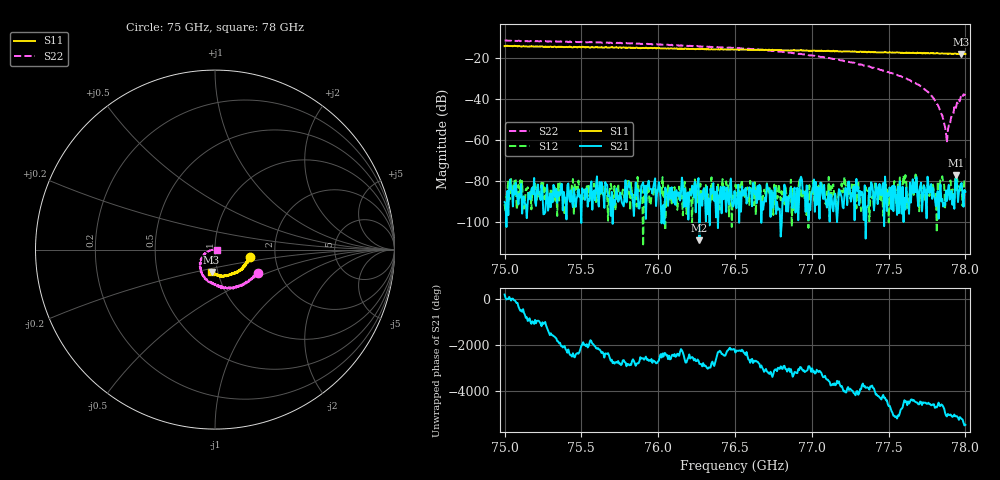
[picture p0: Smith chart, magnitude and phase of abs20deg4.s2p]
# Hz S MA R 50
! CMT, C4420, 21421029, 25.1.2/3
! Date: 8/7/2025 1:34:06 PM
! Data: Format (Calibration Info)
! Freq	S33:Mag/Ang(F2)	S43:Mag/Ang(F2)	S34:Mag/Ang(F2)	S44:Mag/Ang(F2)
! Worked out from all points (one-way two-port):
!   500 points, 75 GHz to 78 GHz, reference 50 ohm
!   highest |S21| = -77.29 dB at 77.94 GHz (marker M1); lowest = -109.1 dB at 76.269 GHz (marker M2)
!   lowest |S11| = -17.9 dB at 77.97 GHz (marker M3), VSWR 1.29, Z = 46.7 - j11.9 ohm
!   |S11| at or under -10 dB: start of sweep to end of sweep
!   |S22| runs from -61.3 to -11.3 dB; largest |S21 - S12| = 0.00018
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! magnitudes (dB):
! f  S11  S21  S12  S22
! 75 GHz  -14.1  -90.4  -91.3  -11.3
! 75.505 GHz  -14.4  -83.6  -88.5  -12.0
! 76.004 GHz  -15.1  -80.6  -84.4  -13.2
! 76.269 GHz  -15.5  -109.1  -85.4  -14.3
! 76.503 GHz  -15.7  -89.9  -81.7  -15.0
! 77.002 GHz  -16.3  -85.2  -87.0  -18.7
! 77.267 GHz  -16.6  -85.6  -84.9  -22.1
! 77.501 GHz  -17.3  -87.4  -100.3  -26.7
! 77.603 GHz  -17.4  -88.3  -80.9  -29.5
! 77.657 GHz  -17.2  -79.2  -84.5  -31.5
! 77.669 GHz  -17.4  -80.8  -80.5  -31.8
! 77.699 GHz  -17.3  -84.6  -94.9  -33.1
! 77.766 GHz  -17.6  -85.9  -87.5  -37.1
! 77.832 GHz  -17.7  -88.2  -84.5  -44.8
! 77.85 GHz  -17.5  -88.9  -77.7  -48.0
! 77.868 GHz  -17.7  -92.1  -93.0  -53.8
! 77.874 GHz  -17.8  -84.6  -85.2  -56.4
! 77.886 GHz  -17.9  -84.8  -85.2  -55.3
! 77.916 GHz  -17.8  -91.7  -84.2  -48.0
! 77.94 GHz  -17.8  -77.3  -84.5  -43.8
! 77.97 GHz  -17.9  -81.7  -84.7  -38.9
! 78 GHz  -17.8  -85.3  -78.8  -38.2
